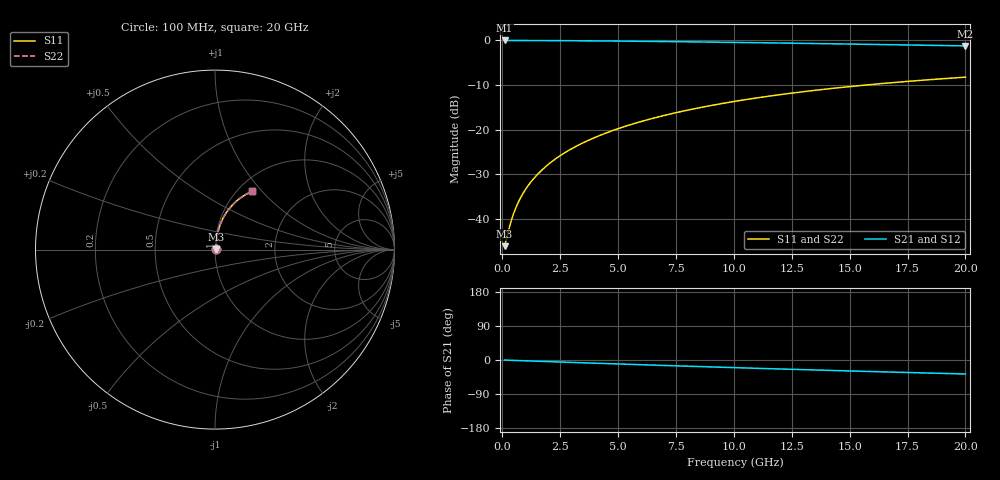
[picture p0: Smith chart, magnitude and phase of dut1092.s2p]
! Touchstone file exported from HFSS 2024.1.0
!  File:  C:/UserFiles/LocalFiles/RDL_TSV_Batchsim/temp_RDL_bottom_1092_1780053604.aedt
!  Generated:  07:22:44 PM May 29, 2026
!  Design:  RDL_bottom
!  Project:  temp_RDL_bottom_1092_1780053604
!  Setup:  Setup1
!  Solution:  Sweep
! Variables:
!  dtsv = 10.80580581um
!  hbump = 3um
!  htsv = 57.2um
!  ldown = 494.22um
!  lrdl = 100um
!  p = 40
!  p1 = 44.48um
!  rhole = 1um
!  t = 450um
!  tdown = 2.46um
!  trdl = 3.915915916um
!  wdown = 16.69um
!  wrdl = 20um
# GHz S MA R 50.000000
! Terminal data exported
! Port[1] = RDL1_T1
! Port[2] = RDL1_T2
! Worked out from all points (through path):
!   200 points, 100 MHz to 20 GHz, reference 50 ohm
!   highest |S21| = -0.04 dB at 100 MHz (marker M1); lowest = -1.3 dB at 20 GHz (marker M2)
!   group delay of S21, straight-line fit = 5.12 ps
!   lowest |S11| = -46.1 dB at 100 MHz (marker M3), VSWR 1.01, Z = 50.4 + j0.22 ohm
!   |S11| at or under -10 dB: start of sweep to 15.72 GHz
!   |S22| runs from -46.1 to -8.2 dB; largest |S21 - S12| = 3.3e-15
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0.1  0.004976 26.0  0.9955 -0.2  0.9955 -0.2  0.004976 26.0
! Gamma 0 0 0 0
! Port Impedance 50 0 50 0
0.3  0.007981 54.1  0.9953 -0.7  0.9953 -0.7  0.007981 54.1
0.4  0.009823 60.6  0.9951 -0.9  0.9951 -0.9  0.009823 60.6
0.5  0.01172 64.9  0.995 -1.1  0.995 -1.1  0.01172 64.9
0.6  0.01365 67.9  0.9948 -1.3  0.9948 -1.3  0.01365 67.9
0.7  0.01558 70.2  0.9946 -1.5  0.9946 -1.5  0.01558 70.2
0.9  0.01946 73.4  0.9943 -2.0  0.9943 -2.0  0.01946 73.4
1.2  0.02532 76.3  0.9937 -2.6  0.9937 -2.6  0.02532 76.3
1.4  0.02925 77.6  0.9933 -3.0  0.9933 -3.0  0.02925 77.6
1.7  0.03518 79.0  0.9927 -3.7  0.9927 -3.7  0.03518 79.0
2.2  0.04516 80.3  0.9914 -4.7  0.9914 -4.7  0.04516 80.3
2.8  0.05727 81.0  0.9896 -6.0  0.9896 -6.0  0.05727 81.0
3.5  0.07155 81.2  0.9871 -7.4  0.9871 -7.4  0.07155 81.2
4.2  0.08597 81.0  0.984 -8.9  0.984 -8.9  0.08597 81.0
5  0.1026 80.4  0.9801 -10.5  0.9801 -10.5  0.1026 80.4
5.9  0.1214 79.5  0.9752 -12.3  0.9752 -12.3  0.1214 79.5
6.8  0.1402 78.4  0.9697 -14.1  0.9697 -14.1  0.1402 78.4
8.4  0.1737 76.2  0.9591 -17.1  0.9591 -17.1  0.1737 76.2
10.1  0.2087 73.5  0.9468 -20.3  0.9468 -20.3  0.2087 73.5
13.4  0.2737 68.0  0.9209 -26.2  0.9209 -26.2  0.2737 68.0
16.7  0.3333 62.6  0.8935 -31.7  0.8935 -31.7  0.3333 62.6
20  0.3868 57.3  0.8657 -37.0  0.8657 -37.0  0.3868 57.3
